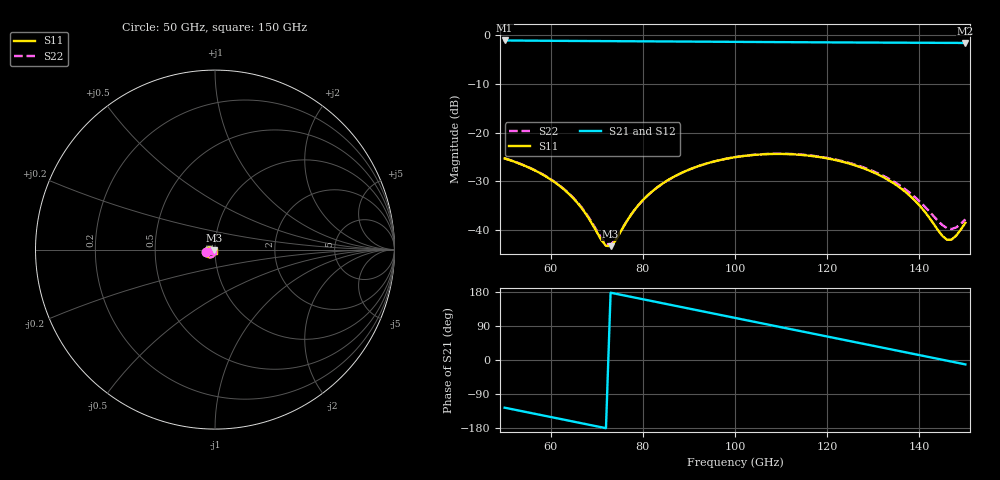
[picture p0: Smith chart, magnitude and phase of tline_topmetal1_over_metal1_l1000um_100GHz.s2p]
#  GHZ S DB R 50
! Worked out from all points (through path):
!   101 points, 50 GHz to 150 GHz, reference 50 ohm
!   highest |S21| = -1.07 dB at 50 GHz (marker M1); lowest = -1.6 dB at 150 GHz (marker M2)
!   group delay of S21, straight-line fit = 6.83 ps
!   lowest |S11| = -43.3 dB at 73 GHz (marker M3), VSWR 1.01, Z = 49.5 - j0.475 ohm
!   |S11| at or under -10 dB: start of sweep to end of sweep
!   |S22| runs from -43.0 to -24.3 dB; largest |S21 - S12| = 1e-13
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50  -25.31 -163.9  -1.07 -125.8  -1.07 -125.8  -25.28 -163.8
55  -27.07 -176.7  -1.11 -138.1  -1.11 -138.1  -27.03 -176.6
60  -29.62 172.2  -1.14 -150.4  -1.14 -150.4  -29.57 172.4
64  -32.62 166.0  -1.17 -160.2  -1.17 -160.2  -32.53 166.4
67  -35.85 165.7  -1.18 -167.6  -1.18 -167.6  -35.71 166.2
71  -42.07 -171.3  -1.20 -177.5  -1.20 -177.5  -41.71 -171.4
72  -43.25 -154.9  -1.21 -179.9  -1.21 -179.9  -42.86 -155.9
73  -43.32 -135.4  -1.22 177.6  -1.22 177.6  -43.01 -137.3
74  -42.25 -118.4  -1.22 175.2  -1.22 175.2  -42.07 -120.7
79  -34.93 -93.1  -1.25 162.8  -1.25 162.8  -34.95 -94.2
84  -30.64 -97.4  -1.27 150.5  -1.27 150.5  -30.67 -98.0
91  -27.24 -111.0  -1.31 133.3  -1.31 133.3  -27.25 -111.4
100  -25.05 -131.4  -1.36 111.1  -1.36 111.1  -25.04 -131.6
108  -24.39 -150.1  -1.41 91.5  -1.41 91.5  -24.35 -150.1
117  -24.84 -170.9  -1.45 69.4  -1.45 69.4  -24.77 -170.5
126  -26.71 169.5  -1.49 47.3  -1.49 47.3  -26.56 170.5
134  -30.15 155.2  -1.52 27.7  -1.52 27.7  -29.81 157.3
139  -33.91 151.5  -1.54 15.4  -1.54 15.4  -33.21 154.9
146  -42.00 -166.8  -1.57 -1.8  -1.57 -1.8  -39.62 -171.6
147  -41.98 -150.9  -1.57 -4.2  -1.57 -4.2  -39.80 -160.1
148  -41.17 -136.8  -1.58 -6.7  -1.58 -6.7  -39.48 -148.9
150  -38.53 -119.2  -1.58 -11.6  -1.58 -11.6  -37.81 -131.9
